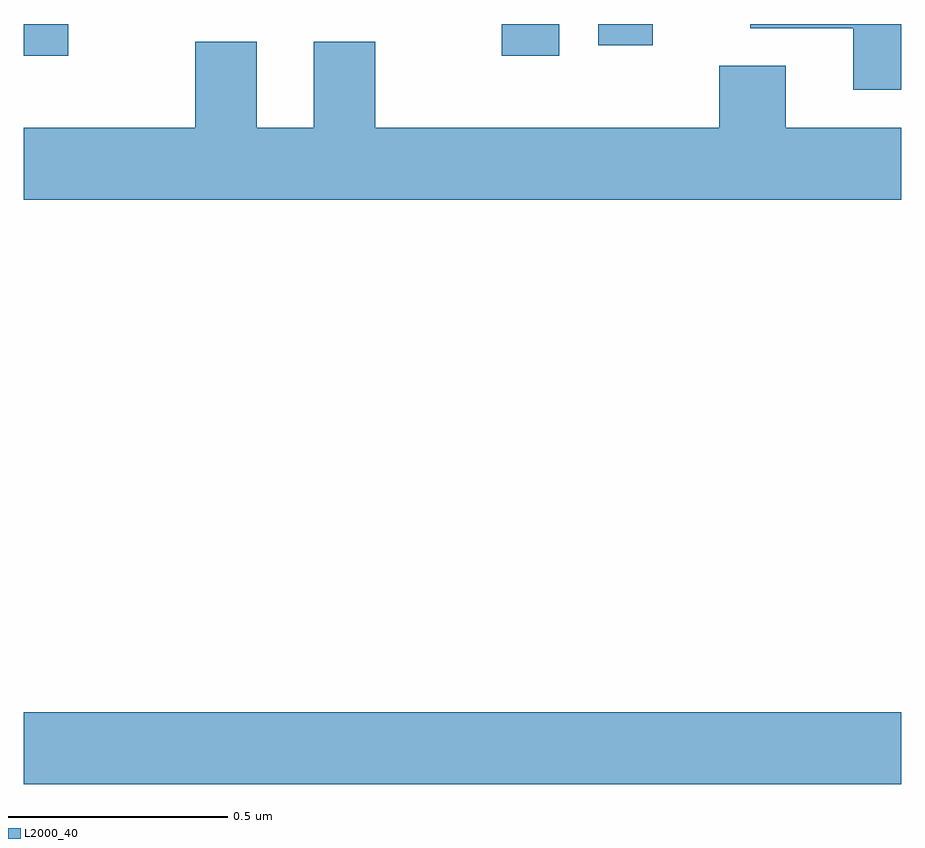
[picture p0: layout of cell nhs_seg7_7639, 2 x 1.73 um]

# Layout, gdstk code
import gdstk
lib = gdstk.Library(unit=1e-6, precision=1e-09)
def R(c, l, rs):  # rectangles x0, y0, x1, y1
    for r in rs: c.add(gdstk.rectangle(r[:2], r[2:], *l))
def P(c, l, *ps):  # polygons
    for p in ps: c.add(gdstk.Polygon(p, *l))
L2000_40 = (2000, 40)

nhs_seg7_7639 = lib.new_cell('nhs_seg7_7639')
R(nhs_seg7_7639, L2000_40, [(214,1015.268,216,1015.432), (214,1016.928,214.102,1017), (215.09,1016.928,215.221,1017), (215.309,1016.952,215.434,1017)])
P(nhs_seg7_7639, L2000_40, [(216,1017),(215.656,1017),(215.656,1016.99),(215.891,1016.99),(215.891,1016.85),(216,1016.85)],
  [(216,1016.764),(215.737,1016.764),(215.737,1016.905),(215.585,1016.905),(215.585,1016.764),(214.801,1016.764),(214.801,1016.959),(214.661,1016.959),(214.661,1016.764),(214.531,1016.764),(214.531,1016.959),(214.391,1016.959),(214.391,1016.764),(214,1016.764),(214,1016.6),(216,1016.6)])

lib.write_gds('nhs_seg7_7639.gds')
